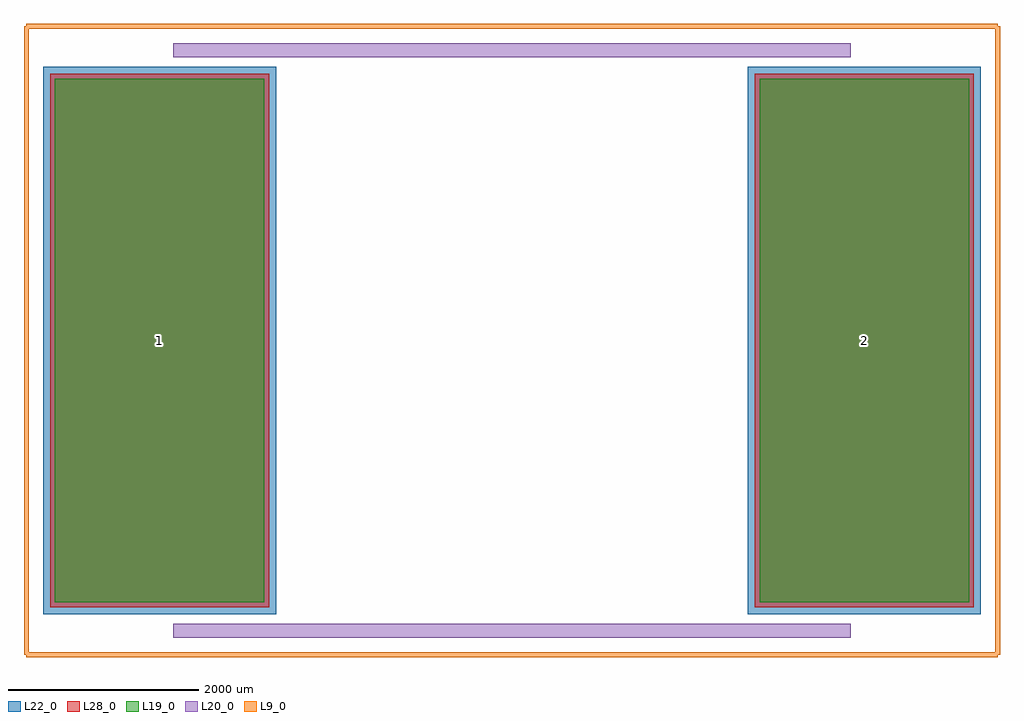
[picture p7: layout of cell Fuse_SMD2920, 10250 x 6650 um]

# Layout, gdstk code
import gdstk
lib = gdstk.Library(unit=1e-6, precision=1e-09)
def R(c, l, rs):  # rectangles x0, y0, x1, y1
    for r in rs: c.add(gdstk.rectangle(r[:2], r[2:], *l))
L9_0 = (9, 0)
L19_0 = (19, 0)
L20_0 = (20, 0)
L22_0 = (22, 0)
L28_0 = (28, 0)

fuse_smd2920 = lib.new_cell('Fuse_SMD2920')
R(fuse_smd2920, L19_0, [(-4800,-2750,-2600,2750), (2600,-2750,4800,2750)])
R(fuse_smd2920, L22_0, [(-4925,-2875,-2475,2875), (2475,-2875,4925,2875)])
R(fuse_smd2920, L28_0, [(-4850,-2800,-2550,2800), (2550,-2800,4850,2800)])
fuse_smd2920.add(gdstk.FlexPath([(-3556,-3048),(3556,-3048)], 149.998, ends="flush", simple_path=True, layer=20, datatype=0))  # L20_0
fuse_smd2920.add(gdstk.FlexPath([(-3556,3048),(3556,3048)], 149.998, ends="flush", simple_path=True, layer=20, datatype=0))  # L20_0
fuse_smd2920.add(gdstk.FlexPath([(-5100,3300),(5100,3300)], 50, ends="flush", simple_path=True, layer=9, datatype=0))  # L9_0
fuse_smd2920.add(gdstk.FlexPath([(-5100,-3300),(5100,-3300)], 50, ends="flush", simple_path=True, layer=9, datatype=0))  # L9_0
fuse_smd2920.add(gdstk.FlexPath([(-5100,3300),(-5100,-3300)], 50, ends="flush", simple_path=True, layer=9, datatype=0))  # L9_0
fuse_smd2920.add(gdstk.FlexPath([(5100,3300),(5100,-3300)], 50, ends="flush", simple_path=True, layer=9, datatype=0))  # L9_0
fuse_smd2920.add(gdstk.Label('2', (3700,0), layer=28, texttype=0))
fuse_smd2920.add(gdstk.Label('1', (-3700,0), layer=28, texttype=0))
fuse_smd2920.add(gdstk.Label('type', (0,-4381.5), layer=9, texttype=0))
fuse_smd2920.add(gdstk.Label('devicename', (0,4127.5), layer=9, texttype=0))

lib.write_gds('Fuse_SMD2920.gds')
